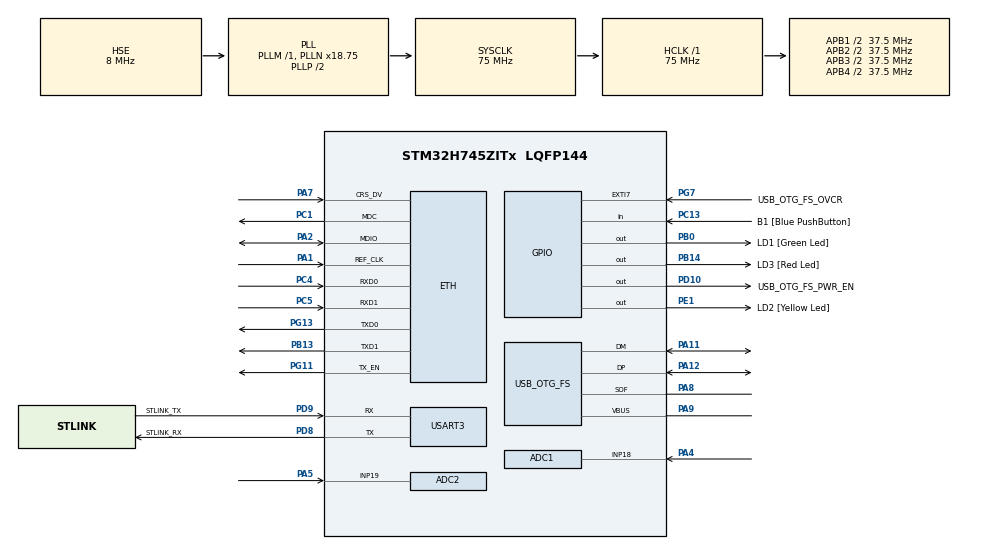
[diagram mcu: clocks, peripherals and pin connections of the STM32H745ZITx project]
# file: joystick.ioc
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ADC1.Channel-0\#ChannelRegularConversion=ADC_CHANNEL_18
ADC1.NbrOfConversionFlag=1
ADC1.OffsetNumber-0\#ChannelRegularConversion=ADC_OFFSET_NONE
ADC1.OffsetSignedSaturation-0\#ChannelRegularConversion=DISABLE
ADC1.Rank-0\#ChannelRegularConversion=1
ADC1.SamplingTime-0\#ChannelRegularConversion=ADC_SAMPLETIME_1CYCLE_5
ADC1.master=1
ADC2.Channel-0\#ChannelRegularConversion=ADC_CHANNEL_19
ADC2.NbrOfConversionFlag=1
ADC2.OffsetNumber-0\#ChannelRegularConversion=ADC_OFFSET_NONE
ADC2.OffsetSignedSaturation-0\#ChannelRegularConversion=DISABLE
ADC2.Rank-0\#ChannelRegularConversion=1
ADC2.SamplingTime-0\#ChannelRegularConversion=ADC_SAMPLETIME_1CYCLE_5
CortexM4.IPs=FATFS_M4\:I,FREERTOS_M4\:I,IWDG2\:I,RCC,WWDG2\:I,DMA,BDMA,MDMA,NVIC2\:I,USART3,ETH,DEBUG,USB_DEVICE_M4\:I,USB_HOST_M4\:I,PDM2PCM_M4\:I,PWR,RESMGR_UTILITY,SYS_M4\:I,CORTEX_M4\:I,OPENAMP_M4\:I,VREFBUF,GPIO
CortexM7.IPs=FATFS_M7\:I,FREERTOS_M7\:I,IWDG1\:I,RCC\:I,WWDG1\:I,DMA\:I,BDMA\:I,MDMA\:I,NVIC1\:I,SYS\:I,USART3\:I,USB_OTG_FS\:I,ETH\:I,CORTEX_M7\:I,DEBUG\:I,USB_DEVICE_M7\:I,USB_HOST_M7\:I,PDM2PCM_M7\:I,PWR\:I,RESMGR_UTILITY\:I,OPENAMP_M7\:I,VREFBUF\:I,GPIO\:I,ADC1\:I,ADC2\:I
ETH.MediaInterface=HAL_ETH_RMII_MODE
Mcu.Family=STM32H7
Mcu.Name=STM32H745ZITx
Mcu.Package=LQFP144
NVIC1.PriorityGroup=NVIC_PRIORITYGROUP_4
NVIC2.PriorityGroup=NVIC_PRIORITYGROUP_4
PA1.Mode=RMII
PA1.PinAttribute=CortexM7
PA1.Signal=ETH_REF_CLK
PA11.Mode=Device_Only
PA11.PinAttribute=CortexM7
PA11.Signal=USB_OTG_FS_DM
PA12.Mode=Device_Only
PA12.PinAttribute=CortexM7
PA12.Signal=USB_OTG_FS_DP
PA2.Mode=RMII
PA2.PinAttribute=CortexM7
PA2.Signal=ETH_MDIO
PA4.PinAttribute=CortexM7
PA4.Signal=ADCx_INP18
PA5.PinAttribute=CortexM7
PA5.Signal=ADCx_INP19
PA7.Mode=RMII
PA7.PinAttribute=CortexM7
PA7.Signal=ETH_CRS_DV
PA8.Mode=Activate_SOF_FS
PA8.PinAttribute=CortexM7
PA8.Signal=USB_OTG_FS_SOF
PA9.Mode=Activate_VBUS
PA9.PinAttribute=CortexM7
PA9.Signal=USB_OTG_FS_VBUS
PB0.GPIO_Label=LD1 [Green Led]
PB0.PinAttribute=Free
PB0.Signal=GPIO_Output
PB13.Mode=RMII
PB13.PinAttribute=CortexM7
PB13.Signal=ETH_TXD1
PB14.GPIO_Label=LD3 [Red Led]
PB14.PinAttribute=Free
PB14.Signal=GPIO_Output
PC1.Mode=RMII
PC1.PinAttribute=CortexM7
PC1.Signal=ETH_MDC
PC13.GPIO_Label=B1 [Blue PushButton]
PC13.PinAttribute=Free
PC13.Signal=GPIO_Input
PC14-OSC32_IN\ (OSC32_IN).Mode=LSE-External-Oscillator
PC14-OSC32_IN\ (OSC32_IN).PinAttribute=CortexM7
PC14-OSC32_IN\ (OSC32_IN).Signal=RCC_OSC32_IN
PC15-OSC32_OUT\ (OSC32_OUT).Mode=LSE-External-Oscillator
PC15-OSC32_OUT\ (OSC32_OUT).PinAttribute=CortexM7
PC15-OSC32_OUT\ (OSC32_OUT).Signal=RCC_OSC32_OUT
PC4.Mode=RMII
PC4.PinAttribute=CortexM7
PC4.Signal=ETH_RXD0
PC5.Mode=RMII
PC5.PinAttribute=CortexM7
PC5.Signal=ETH_RXD1
PD10.GPIO_Label=USB_OTG_FS_PWR_EN
PD10.PinAttribute=Free
PD10.Signal=GPIO_Output
PD8.GPIO_Label=STLINK_RX
PD8.Mode=Asynchronous
PD8.PinAttribute=CortexM7
PD8.Signal=USART3_TX
PD9.GPIO_Label=STLINK_TX
PD9.Mode=Asynchronous
PD9.PinAttribute=CortexM7
PD9.Signal=USART3_RX
PE1.GPIO_Label=LD2 [Yellow Led]
PE1.PinAttribute=Free
PE1.Signal=GPIO_Output
PG11.Mode=RMII
PG11.PinAttribute=CortexM7
PG11.Signal=ETH_TX_EN
PG13.Mode=RMII
PG13.PinAttribute=CortexM7
PG13.Signal=ETH_TXD0
PG7.GPIO_Label=USB_OTG_FS_OVCR
PG7.PinAttribute=Free
PG7.Signal=GPXTI7
PH0-OSC_IN\ (PH0).Mode=HSE-External-Clock-Source
PH0-OSC_IN\ (PH0).PinAttribute=CortexM7
PH0-OSC_IN\ (PH0).Signal=RCC_OSC_IN
PH1-OSC_OUT\ (PH1).PinAttribute=CortexM7
PH1-OSC_OUT\ (PH1).Signal=RCC_OSC_OUT
ProjectManager.HeapSize=M4-0x200,M7-0x200
ProjectManager.StackSize=M4-0x400,M7-0x400
ProjectManager.TargetToolchain=STM32CubeIDE
RCC.ADCFreq_Value=37500000
RCC.APB1Freq_Value=37500000
RCC.APB2Freq_Value=37500000
RCC.APB3Freq_Value=37500000
RCC.APB4Freq_Value=37500000
RCC.CortexFreq_Value=75000000
RCC.D1PPRE=RCC_APB3_DIV2
RCC.D2PPRE1=RCC_APB1_DIV2
RCC.D2PPRE2=RCC_APB2_DIV2
RCC.D3PPRE=RCC_APB4_DIV2
RCC.DIVM1=1
RCC.DIVM2=1
RCC.DIVM3=1
RCC.DIVN1=18
RCC.DIVN2=18
RCC.DIVN3=18
RCC.DIVP2=4
RCC.DIVQ3=3
RCC.HCLKFreq_Value=75000000
RCC.HSE_VALUE=8000000
RCC.PLL2FRACN=6144
RCC.PLL3FRACN=6144
RCC.PLLFRACN=6144
RCC.SYSCLKFreq_VALUE=75000000
RCC.SYSCLKSource=RCC_SYSCLKSOURCE_PLLCLK
RCC.SupplySource=PWR_DIRECT_SMPS_SUPPLY
RCC.USBCLockSelection=RCC_USBCLKSOURCE_PLL3
RCC.USBFreq_Value=50000000
SH.ADCx_INP18.0=ADC1_INP18,IN18-Single-Ended
SH.ADCx_INP19.0=ADC2_INP19,IN19-Single-Ended
USART3.VirtualMode-Asynchronous=VM_ASYNC
USB_OTG_FS.VirtualMode=Device_Only
VP_SYS_M4_VS_Systick.Mode=SysTick
board=NUCLEO-H745ZI-Q

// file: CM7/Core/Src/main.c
/* USER CODE BEGIN Header */
/**
  ******************************************************************************
  * @file           : main.c
  * @brief          : Main program body
  ******************************************************************************
  * @attention
  *
  * Copyright (c) 2023 STMicroelectronics.
  * All rights reserved.
  *
  * This software is licensed under terms that can be found in the LICENSE file
  * in the root directory of this software component.
  * If no LICENSE file comes with this software, it is provided AS-IS.
  *
  ******************************************************************************
  */
/* USER CODE END Header */
#include "main.h"
#include "string.h"

/* USER CODE BEGIN Includes */
#include "stdio.h"
#include "stdint.h"
/* USER CODE END Includes */

/* USER CODE BEGIN PD */

#ifndef HSEM_ID_0
#define HSEM_ID_0 (0U) /* HW semaphore 0*/
#endif

/* USER CODE END PD */

#if defined ( __ICCARM__ ) /*!< IAR Compiler */
#pragma location=0x30000000
ETH_DMADescTypeDef  DMARxDscrTab[ETH_RX_DESC_CNT]; /* Ethernet Rx DMA Descriptors */
#pragma location=0x30000200
ETH_DMADescTypeDef  DMATxDscrTab[ETH_TX_DESC_CNT]; /* Ethernet Tx DMA Descriptors */

#elif defined ( __CC_ARM )  /* MDK ARM Compiler */

__attribute__((at(0x30000000))) ETH_DMADescTypeDef  DMARxDscrTab[ETH_RX_DESC_CNT]; /* Ethernet Rx DMA Descriptors */
__attribute__((at(0x30000200))) ETH_DMADescTypeDef  DMATxDscrTab[ETH_TX_DESC_CNT]; /* Ethernet Tx DMA Descriptors */

#elif defined ( __GNUC__ ) /* GNU Compiler */
ETH_DMADescTypeDef DMARxDscrTab[ETH_RX_DESC_CNT] __attribute__((section(".RxDecripSection"))); /* Ethernet Rx DMA Descriptors */
ETH_DMADescTypeDef DMATxDscrTab[ETH_TX_DESC_CNT] __attribute__((section(".TxDecripSection")));   /* Ethernet Tx DMA Descriptors */

#endif

ETH_TxPacketConfig TxConfig;

ADC_HandleTypeDef hadc1;
ADC_HandleTypeDef hadc2;

ETH_HandleTypeDef heth;

UART_HandleTypeDef huart3;

PCD_HandleTypeDef hpcd_USB_OTG_FS;

/* USER CODE BEGIN PV */
uint16_t x_adc, y_adc;
float x_axis, y_axis;
char msg[100];
int in_min, in_max, out_min, out_max;
float x_map, y_map;
/* USER CODE END PV */

void SystemClock_Config(void);
void PeriphCommonClock_Config(void);
static void MX_GPIO_Init(void);
static void MX_ETH_Init(void);
static void MX_USART3_UART_Init(void);
static void MX_USB_OTG_FS_PCD_Init(void);
static void MX_ADC1_Init(void);
static void MX_ADC2_Init(void);

int main(void)
{
/* USER CODE BEGIN Boot_Mode_Sequence_0 */
  int32_t timeout;
/* USER CODE END Boot_Mode_Sequence_0 */

/* USER CODE BEGIN Boot_Mode_Sequence_1 */
  /* Wait until CPU2 boots and enters in stop mode or timeout*/
  timeout = 0xFFFF;
  while((__HAL_RCC_GET_FLAG(RCC_FLAG_D2CKRDY) != RESET) && (timeout-- > 0));
  if ( timeout < 0 )
  {
  Error_Handler();
  }
/* USER CODE END Boot_Mode_Sequence_1 */
  /* MCU Configuration--------------------------------------------------------*/

  /* Reset of all peripherals, Initializes the Flash interface and the Systick. */
  HAL_Init();

  /* Configure the system clock */
  SystemClock_Config();

/* Configure the peripherals common clocks */
  PeriphCommonClock_Config();
/* USER CODE BEGIN Boot_Mode_Sequence_2 */
/* When system initialization is finished, Cortex-M7 will release Cortex-M4 by means of
HSEM notification */
/*HW semaphore Clock enable*/
__HAL_RCC_HSEM_CLK_ENABLE();
/*Take HSEM */
HAL_HSEM_FastTake(HSEM_ID_0);
/*Release HSEM in order to notify the CPU2(CM4)*/
HAL_HSEM_Release(HSEM_ID_0,0);
/* wait until CPU2 wakes up from stop mode */
timeout = 0xFFFF;
while((__HAL_RCC_GET_FLAG(RCC_FLAG_D2CKRDY) == RESET) && (timeout-- > 0));
if ( timeout < 0 )
{
Error_Handler();
}
/* USER CODE END Boot_Mode_Sequence_2 */

  /* Initialize all configured peripherals */
  MX_GPIO_Init();
  MX_ETH_Init();
  MX_USART3_UART_Init();
  MX_USB_OTG_FS_PCD_Init();
  MX_ADC1_Init();
  MX_ADC2_Init();

  /* Infinite loop */
  /* USER CODE BEGIN WHILE */
  while (1)
  {
    HAL_ADC_Start(&hadc1);
    HAL_ADC_PollForConversion(&hadc1, HAL_MAX_DELAY);
    x_adc = HAL_ADC_GetValue(&hadc1);
    HAL_Delay(1);

    HAL_ADC_Start(&hadc2);
    HAL_ADC_PollForConversion(&hadc2, HAL_MAX_DELAY);
    y_adc = HAL_ADC_GetValue(&hadc2);
    HAL_Delay(1);

    x_axis = x_adc / 1000;
    y_axis = y_adc / 1000;
    in_min = 35;
    in_max = 65;
    out_min = -1;
    out_max = 1;

    x_map = (x_axis - in_min) * (out_max - out_min) / (in_max - in_min) + out_min;
    y_map = (y_axis - in_min) * (out_max - out_min) / (in_max - in_min) + out_min;

    if(x_map < -1){
    	x_map = -1;
    }
    if(y_map < -1){
        y_map = -1;
    }

    snprintf(msg, 100, "CH_1: %.2f, CH_2: %.2f \r\n", x_map, y_map);
    HAL_UART_Transmit(&huart3,msg,sizeof(msg),10);// Sending in normal mode
    HAL_Delay(10);
    /* USER CODE END WHILE */
  }
}

void SystemClock_Config(void)
{
  RCC_OscInitTypeDef RCC_OscInitStruct = {0};
  RCC_ClkInitTypeDef RCC_ClkInitStruct = {0};

  /** Supply configuration update enable
  */
  HAL_PWREx_ConfigSupply(PWR_DIRECT_SMPS_SUPPLY);

  /** Configure the main internal regulator output voltage
  */
  __HAL_PWR_VOLTAGESCALING_CONFIG(PWR_REGULATOR_VOLTAGE_SCALE3);

  while(!__HAL_PWR_GET_FLAG(PWR_FLAG_VOSRDY)) {}

  /** Initializes the RCC Oscillators according to the specified parameters
  * in the RCC_OscInitTypeDef structure.
  */
  RCC_OscInitStruct.OscillatorType = RCC_OSCILLATORTYPE_HSE;
  RCC_OscInitStruct.HSEState = RCC_HSE_BYPASS;
  RCC_OscInitStruct.PLL.PLLState = RCC_PLL_ON;
  RCC_OscInitStruct.PLL.PLLSource = RCC_PLLSOURCE_HSE;
  RCC_OscInitStruct.PLL.PLLM = 1;
  RCC_OscInitStruct.PLL.PLLN = 18;
  RCC_OscInitStruct.PLL.PLLP = 2;
  RCC_OscInitStruct.PLL.PLLQ = 2;
  RCC_OscInitStruct.PLL.PLLR = 2;
  RCC_OscInitStruct.PLL.PLLRGE = RCC_PLL1VCIRANGE_3;
  RCC_OscInitStruct.PLL.PLLVCOSEL = RCC_PLL1VCOMEDIUM;
  RCC_OscInitStruct.PLL.PLLFRACN = 6144;
  if (HAL_RCC_OscConfig(&RCC_OscInitStruct) != HAL_OK)
  {
    Error_Handler();
  }

  /** Initializes the CPU, AHB and APB buses clocks
  */
  RCC_ClkInitStruct.ClockType = RCC_CLOCKTYPE_HCLK|RCC_CLOCKTYPE_SYSCLK
                              |RCC_CLOCKTYPE_PCLK1|RCC_CLOCKTYPE_PCLK2
                              |RCC_CLOCKTYPE_D3PCLK1|RCC_CLOCKTYPE_D1PCLK1;
  RCC_ClkInitStruct.SYSCLKSource = RCC_SYSCLKSOURCE_PLLCLK;
  RCC_ClkInitStruct.SYSCLKDivider = RCC_SYSCLK_DIV1;
  RCC_ClkInitStruct.AHBCLKDivider = RCC_HCLK_DIV1;
  RCC_ClkInitStruct.APB3CLKDivider = RCC_APB3_DIV2;
  RCC_ClkInitStruct.APB1CLKDivider = RCC_APB1_DIV2;
  RCC_ClkInitStruct.APB2CLKDivider = RCC_APB2_DIV2;
  RCC_ClkInitStruct.APB4CLKDivider = RCC_APB4_DIV2;

  if (HAL_RCC_ClockConfig(&RCC_ClkInitStruct, FLASH_LATENCY_1) != HAL_OK)
  {
    Error_Handler();
  }
}

void PeriphCommonClock_Config(void)
{
  RCC_PeriphCLKInitTypeDef PeriphClkInitStruct = {0};

  /** Initializes the peripherals clock
  */
  PeriphClkInitStruct.PeriphClockSelection = RCC_PERIPHCLK_ADC;
  PeriphClkInitStruct.PLL2.PLL2M = 1;
  PeriphClkInitStruct.PLL2.PLL2N = 18;
  PeriphClkInitStruct.PLL2.PLL2P = 4;
  PeriphClkInitStruct.PLL2.PLL2Q = 2;
  PeriphClkInitStruct.PLL2.PLL2R = 2;
  PeriphClkInitStruct.PLL2.PLL2RGE = RCC_PLL2VCIRANGE_3;
  PeriphClkInitStruct.PLL2.PLL2VCOSEL = RCC_PLL2VCOMEDIUM;
  PeriphClkInitStruct.PLL2.PLL2FRACN = 6144;
  PeriphClkInitStruct.AdcClockSelection = RCC_ADCCLKSOURCE_PLL2;
  if (HAL_RCCEx_PeriphCLKConfig(&PeriphClkInitStruct) != HAL_OK)
  {
    Error_Handler();
  }
}

static void MX_ADC1_Init(void)
{

  ADC_MultiModeTypeDef multimode = {0};
  ADC_ChannelConfTypeDef sConfig = {0};

  /** Common config
  */
  hadc1.Instance = ADC1;
  hadc1.Init.ClockPrescaler = ADC_CLOCK_ASYNC_DIV1;
  hadc1.Init.Resolution = ADC_RESOLUTION_16B;
  hadc1.Init.ScanConvMode = ADC_SCAN_DISABLE;
  hadc1.Init.EOCSelection = ADC_EOC_SINGLE_CONV;
  hadc1.Init.LowPowerAutoWait = DISABLE;
  hadc1.Init.ContinuousConvMode = DISABLE;
  hadc1.Init.NbrOfConversion = 1;
  hadc1.Init.DiscontinuousConvMode = DISABLE;
  hadc1.Init.ExternalTrigConv = ADC_SOFTWARE_START;
  hadc1.Init.ExternalTrigConvEdge = ADC_EXTERNALTRIGCONVEDGE_NONE;
  hadc1.Init.ConversionDataManagement = ADC_CONVERSIONDATA_DR;
  hadc1.Init.Overrun = ADC_OVR_DATA_PRESERVED;
  hadc1.Init.LeftBitShift = ADC_LEFTBITSHIFT_NONE;
  hadc1.Init.OversamplingMode = DISABLE;
  if (HAL_ADC_Init(&hadc1) != HAL_OK)
  {
    Error_Handler();
  }

  /** Configure the ADC multi-mode
  */
  multimode.Mode = ADC_MODE_INDEPENDENT;
  if (HAL_ADCEx_MultiModeConfigChannel(&hadc1, &multimode) != HAL_OK)
  {
    Error_Handler();
  }

  /** Configure Regular Channel
  */
  sConfig.Channel = ADC_CHANNEL_18;
  sConfig.Rank = ADC_REGULAR_RANK_1;
  sConfig.SamplingTime = ADC_SAMPLETIME_1CYCLE_5;
  sConfig.SingleDiff = ADC_SINGLE_ENDED;
  sConfig.OffsetNumber = ADC_OFFSET_NONE;
  sConfig.Offset = 0;
  sConfig.OffsetSignedSaturation = DISABLE;
  if (HAL_ADC_ConfigChannel(&hadc1, &sConfig) != HAL_OK)
  {
    Error_Handler();
  }

}

static void MX_ADC2_Init(void)
{

  ADC_ChannelConfTypeDef sConfig = {0};

  /** Common config
  */
  hadc2.Instance = ADC2;
  hadc2.Init.ClockPrescaler = ADC_CLOCK_ASYNC_DIV1;
  hadc2.Init.Resolution = ADC_RESOLUTION_16B;
  hadc2.Init.ScanConvMode = ADC_SCAN_DISABLE;
  hadc2.Init.EOCSelection = ADC_EOC_SINGLE_CONV;
  hadc2.Init.LowPowerAutoWait = DISABLE;
  hadc2.Init.ContinuousConvMode = DISABLE;
  hadc2.Init.NbrOfConversion = 1;
  hadc2.Init.DiscontinuousConvMode = DISABLE;
  hadc2.Init.ExternalTrigConv = ADC_SOFTWARE_START;
  hadc2.Init.ExternalTrigConvEdge = ADC_EXTERNALTRIGCONVEDGE_NONE;
  hadc2.Init.ConversionDataManagement = ADC_CONVERSIONDATA_DR;
  hadc2.Init.Overrun = ADC_OVR_DATA_PRESERVED;
  hadc2.Init.LeftBitShift = ADC_LEFTBITSHIFT_NONE;
  hadc2.Init.OversamplingMode = DISABLE;
  if (HAL_ADC_Init(&hadc2) != HAL_OK)
  {
    Error_Handler();
  }

  /** Configure Regular Channel
  */
  sConfig.Channel = ADC_CHANNEL_19;
  sConfig.Rank = ADC_REGULAR_RANK_1;
  sConfig.SamplingTime = ADC_SAMPLETIME_1CYCLE_5;
  sConfig.SingleDiff = ADC_SINGLE_ENDED;
  sConfig.OffsetNumber = ADC_OFFSET_NONE;
  sConfig.Offset = 0;
  sConfig.OffsetSignedSaturation = DISABLE;
  if (HAL_ADC_ConfigChannel(&hadc2, &sConfig) != HAL_OK)
  {
    Error_Handler();
  }

}

static void MX_ETH_Init(void)
{

   static uint8_t MACAddr[6];

  heth.Instance = ETH;
  MACAddr[0] = 0x00;
  MACAddr[1] = 0x80;
  MACAddr[2] = 0xE1;
  MACAddr[3] = 0x00;
  MACAddr[4] = 0x00;
  MACAddr[5] = 0x00;
  heth.Init.MACAddr = &MACAddr[0];
  heth.Init.MediaInterface = HAL_ETH_RMII_MODE;
  heth.Init.TxDesc = DMATxDscrTab;
  heth.Init.RxDesc = DMARxDscrTab;
  heth.Init.RxBuffLen = 1524;

  if (HAL_ETH_Init(&heth) != HAL_OK)
  {
    Error_Handler();
  }

  memset(&TxConfig, 0 , sizeof(ETH_TxPacketConfig));
  TxConfig.Attributes = ETH_TX_PACKETS_FEATURES_CSUM | ETH_TX_PACKETS_FEATURES_CRCPAD;
  TxConfig.ChecksumCtrl = ETH_CHECKSUM_IPHDR_PAYLOAD_INSERT_PHDR_CALC;
  TxConfig.CRCPadCtrl = ETH_CRC_PAD_INSERT;

}

static void MX_USART3_UART_Init(void)
{

  huart3.Instance = USART3;
  huart3.Init.BaudRate = 115200;
  huart3.Init.WordLength = UART_WORDLENGTH_8B;
  huart3.Init.StopBits = UART_STOPBITS_1;
  huart3.Init.Parity = UART_PARITY_NONE;
  huart3.Init.Mode = UART_MODE_TX_RX;
  huart3.Init.HwFlowCtl = UART_HWCONTROL_NONE;
  huart3.Init.OverSampling = UART_OVERSAMPLING_16;
  huart3.Init.OneBitSampling = UART_ONE_BIT_SAMPLE_DISABLE;
  huart3.Init.ClockPrescaler = UART_PRESCALER_DIV1;
  huart3.AdvancedInit.AdvFeatureInit = UART_ADVFEATURE_NO_INIT;
  if (HAL_UART_Init(&huart3) != HAL_OK)
  {
    Error_Handler();
  }
  if (HAL_UARTEx_SetTxFifoThreshold(&huart3, UART_TXFIFO_THRESHOLD_1_8) != HAL_OK)
  {
    Error_Handler();
  }
  if (HAL_UARTEx_SetRxFifoThreshold(&huart3, UART_RXFIFO_THRESHOLD_1_8) != HAL_OK)
  {
    Error_Handler();
  }
  if (HAL_UARTEx_DisableFifoMode(&huart3) != HAL_OK)
  {
    Error_Handler();
  }

}

static void MX_USB_OTG_FS_PCD_Init(void)
{

  hpcd_USB_OTG_FS.Instance = USB_OTG_FS;
  hpcd_USB_OTG_FS.Init.dev_endpoints = 9;
  hpcd_USB_OTG_FS.Init.speed = PCD_SPEED_FULL;
  hpcd_USB_OTG_FS.Init.dma_enable = DISABLE;
  hpcd_USB_OTG_FS.Init.phy_itface = PCD_PHY_EMBEDDED;
  hpcd_USB_OTG_FS.Init.Sof_enable = DISABLE;
  hpcd_USB_OTG_FS.Init.low_power_enable = DISABLE;
  hpcd_USB_OTG_FS.Init.lpm_enable = DISABLE;
  hpcd_USB_OTG_FS.Init.battery_charging_enable = ENABLE;
  hpcd_USB_OTG_FS.Init.vbus_sensing_enable = ENABLE;
  hpcd_USB_OTG_FS.Init.use_dedicated_ep1 = DISABLE;
  if (HAL_PCD_Init(&hpcd_USB_OTG_FS) != HAL_OK)
  {
    Error_Handler();
  }

}

static void MX_GPIO_Init(void)
{

  /* GPIO Ports Clock Enable */
  __HAL_RCC_GPIOC_CLK_ENABLE();
  __HAL_RCC_GPIOH_CLK_ENABLE();
  __HAL_RCC_GPIOA_CLK_ENABLE();
  __HAL_RCC_GPIOB_CLK_ENABLE();
  __HAL_RCC_GPIOD_CLK_ENABLE();
  __HAL_RCC_GPIOG_CLK_ENABLE();

}

void Error_Handler(void)
{
  __disable_irq();
  while (1)
  {
  }
}
